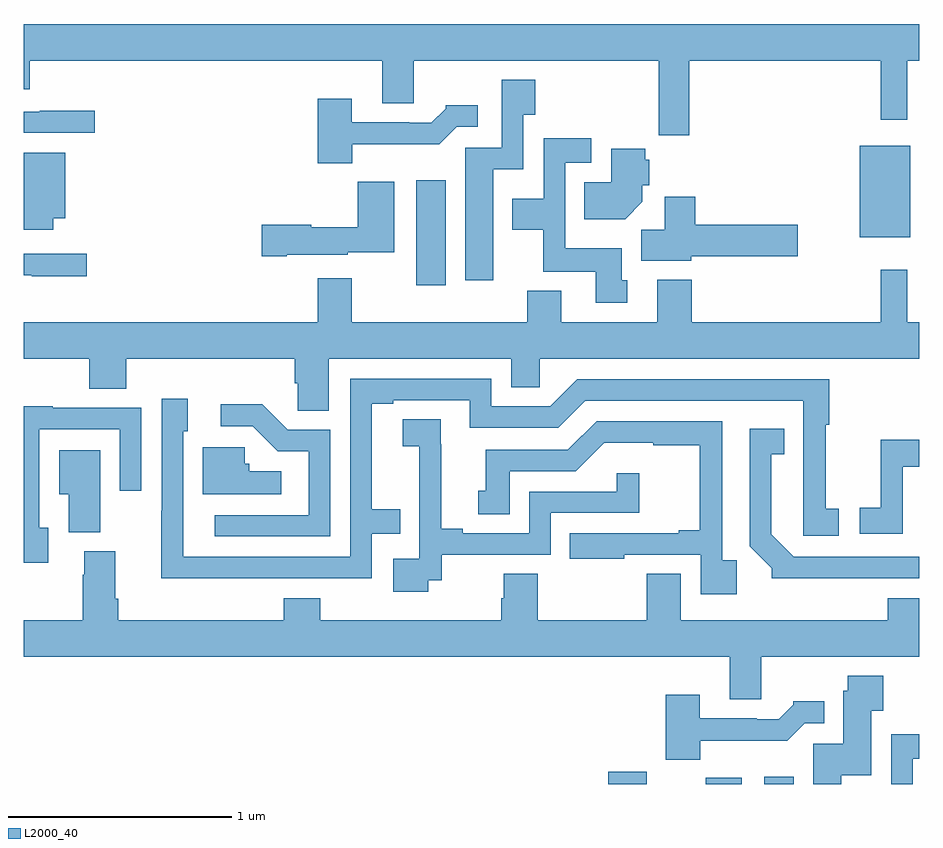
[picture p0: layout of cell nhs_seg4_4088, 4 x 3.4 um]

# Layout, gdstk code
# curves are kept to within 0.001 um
import gdstk
lib = gdstk.Library(unit=1e-6, precision=1e-09)
def R(c, l, rs):  # rectangles x0, y0, x1, y1
    for r in rs: c.add(gdstk.rectangle(r[:2], r[2:], *l))
def P(c, l, *ps):  # polygons
    for p in ps: c.add(gdstk.Polygon(p, *l))
L2000_40 = (2000, 40)

nhs_seg4_4088 = lib.new_cell('nhs_seg4_4088')
R(nhs_seg4_4088, L2000_40, [(329.612,814.9,329.782,814.954), (330.046,814.9,330.208,814.927), (330.308,814.9,330.439,814.933), (328.754,817.128,328.885,817.597), (330.734,817.343,330.961,817.753)])
P(nhs_seg4_4088, L2000_40, [(329.972,818.132),(330.829,818.132),(330.829,817.869),(330.948,817.869),(330.948,818.132),(331,818.132),(331,818.296),(327,818.296),(327,818.004),(327.026,818.004),(327.026,818.132),(328.601,818.132),(328.601,817.942),(328.741,817.942),(328.741,818.132),(329.836,818.132),(329.836,817.8),(329.972,817.8)],
  [(329.098,817.646),(329.232,817.646),(329.232,817.891),(329.285,817.891),(329.285,818.047),(329.136,818.047),(329.136,817.743),(328.973,817.743),(328.973,817.152),(329.098,817.152)],
  [(328.468,817.758),(328.857,817.758),(328.935,817.836),(329.029,817.836),(329.029,817.933),(328.884,817.933),(328.884,817.918),(328.82,817.854),(328.721,817.854),(328.721,817.857),(328.465,817.857),(328.465,817.963),(328.313,817.963),(328.313,817.673),(328.468,817.673)],
  [(327.316,817.909),(327.071,817.909),(327.071,817.905),(327,817.905),(327,817.809),(327.316,817.809)],
  [(329.695,817.152),(329.671,817.152),(329.671,817.294),(329.418,817.294),(329.418,817.677),(329.536,817.677),(329.536,817.786),(329.322,817.786),(329.322,817.516),(329.183,817.516),(329.183,817.376),(329.32,817.376),(329.32,817.19),(329.555,817.19),(329.555,817.05),(329.695,817.05)],
  [(329.764,817.502),(329.764,817.575),(329.795,817.575),(329.795,817.689),(329.777,817.689),(329.777,817.738),(329.624,817.738),(329.624,817.588),(329.503,817.588),(329.503,817.424),(329.686,817.424)],
  [(327.131,817.427),(327.184,817.427),(327.184,817.72),(327,817.72),(327,817.376),(327.131,817.376)],
  [(328.174,817.265),(328.446,817.265),(328.446,817.277),(328.654,817.277),(328.654,817.591),(328.492,817.591),(328.492,817.387),(328.284,817.387),(328.284,817.4),(328.062,817.4),(328.062,817.258),(328.174,817.258)],
  [(329.982,817.258),(330.457,817.258),(330.457,817.4),(329.999,817.4),(329.999,817.525),(329.864,817.525),(329.864,817.376),(329.759,817.376),(329.759,817.238),(329.982,817.238)],
  [(327.28,817.269),(327,817.269),(327,817.173),(327.035,817.173),(327.035,817.169),(327.28,817.169)],
  [(328.363,816.8),(329.177,816.8),(329.177,816.673),(329.304,816.673),(329.304,816.8),(331,816.8),(331,816.964),(330.947,816.964),(330.947,817.198),(330.829,817.198),(330.829,816.964),(329.984,816.964),(329.984,817.153),(329.831,817.153),(329.831,816.964),(329.401,816.964),(329.401,817.105),(329.249,817.105),(329.249,816.964),(328.465,816.964),(328.465,817.159),(328.313,817.159),(328.313,816.964),(327,816.964),(327,816.8),(327.293,816.8),(327.293,816.667),(327.458,816.667),(327.458,816.8),(328.211,816.8),(328.211,816.691),(328.224,816.691),(328.224,816.568),(328.363,816.568)],
  [(328.076,815.82),(328.554,815.82),(328.554,816.018),(328.682,816.018),(328.682,816.127),(328.555,816.127),(328.555,816.6),(328.651,816.6),(328.651,816.615),(328.992,816.615),(328.992,816.492),(329.388,816.492),(329.508,816.612),(330.483,816.612),(330.482,816.009),(330.64,816.009),(330.64,816.129),(330.582,816.129),(330.582,816.505),(330.599,816.505),(330.599,816.708),(329.472,816.708),(329.352,816.588),(329.088,816.588),(329.088,816.711),(328.458,816.711),(328.458,815.916),(327.711,815.916),(327.711,816.477),(327.733,816.477),(327.733,816.622),(327.615,816.622),(327.614,815.819)],
  [(328.368,816.483),(328.179,816.483),(328.066,816.596),(327.879,816.596),(327.879,816.498),(328.023,816.498),(328.134,816.387),(328.272,816.387),(328.272,816.102),(327.852,816.102),(327.852,816.006),(328.368,816.006)],
  [(327.109,816.045),(327.069,816.045),(327.069,816.486),(327.429,816.486),(327.429,816.21),(327.525,816.21),(327.525,816.582),(327.129,816.582),(327.129,816.589),(327,816.589),(327,815.889),(327.109,815.889)],
  [(328.806,815.811),(328.868,815.811),(328.868,815.925),(329.355,815.925),(329.355,816.111),(329.75,816.111),(329.75,816.289),(329.649,816.289),(329.649,816.207),(329.259,816.207),(329.259,816.021),(328.96,816.021),(328.96,816.041),(328.864,816.041),(328.864,816.419),(328.862,816.419),(328.862,816.53),(328.692,816.53),(328.692,816.409),(328.766,816.409),(328.766,816.211),(328.767,816.211),(328.767,815.907),(328.65,815.907),(328.65,815.76),(328.806,815.76)],
  [(330.185,815.899),(330.12,815.899),(330.12,816.522),(329.559,816.522),(329.43,816.393),(329.063,816.393),(329.063,816.21),(329.03,816.21),(329.03,816.106),(329.17,816.106),(329.17,816.297),(329.466,816.297),(329.594,816.425),(329.813,816.425),(329.813,816.414),(330.019,816.414),(330.019,816.034),(329.927,816.034),(329.927,816.021),(329.44,816.021),(329.44,815.906),(329.683,815.906),(329.683,815.925),(330.024,815.925),(330.024,815.748),(330.185,815.748)],
  [(330.776,815.82),(331,815.82),(331,815.916),(330.441,815.916),(330.34,816.017),(330.34,816.374),(330.398,816.374),(330.398,816.487),(330.243,816.487),(330.243,815.962),(330.342,815.863),(330.342,815.819)],
  [(330.928,816.318),(331,816.318),(331,816.439),(330.829,816.439),(330.829,816.134),(330.735,816.134),(330.735,816.018),(330.928,816.018)],
  [(328.15,816.298),(328.006,816.298),(328.006,816.33),(327.987,816.33),(327.987,816.405),(327.8,816.405),(327.8,816.194),(328.15,816.194)],
  [(327.34,816.391),(327.158,816.391),(327.158,816.194),(327.2,816.194),(327.2,816.025),(327.34,816.025)],
  [(330.155,815.278),(330.295,815.278),(330.295,815.468),(331,815.468),(331,815.731),(330.86,815.731),(330.86,815.632),(329.935,815.632),(329.935,815.84),(329.783,815.84),(329.783,815.632),(329.297,815.632),(329.297,815.84),(329.144,815.84),(329.144,815.73),(329.132,815.73),(329.132,815.632),(328.325,815.632),(328.325,815.731),(328.16,815.731),(328.16,815.632),(327.422,815.632),(327.422,815.728),(327.409,815.728),(327.409,815.94),(327.269,815.94),(327.269,815.834),(327.262,815.834),(327.262,815.632),(327,815.632),(327,815.468),(330.155,815.468)],
  [(330.652,814.94),(330.787,814.94),(330.787,815.227),(330.839,815.227),(330.839,815.383),(330.682,815.383),(330.682,815.316),(330.662,815.316),(330.662,815.079),(330.527,815.079),(330.527,814.9),(330.652,814.9)],
  [(330.022,815.094),(330.411,815.094),(330.489,815.172),(330.577,815.172),(330.577,815.269),(330.438,815.269),(330.438,815.254),(330.374,815.19),(330.275,815.19),(330.275,815.193),(330.019,815.193),(330.019,815.299),(329.867,815.299),(329.867,815.009),(330.022,815.009)],
  [(330.972,815.013),(331,815.013),(331,815.122),(330.876,815.122),(330.876,814.9),(330.972,814.9)])

lib.write_gds('nhs_seg4_4088.gds')
